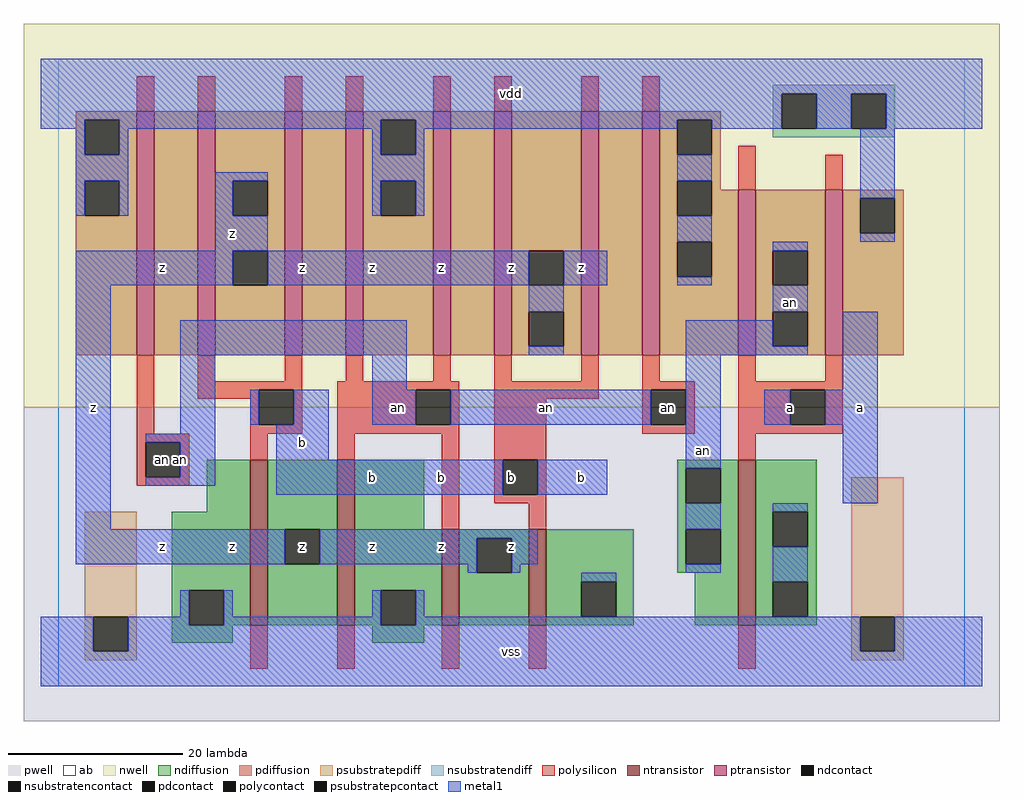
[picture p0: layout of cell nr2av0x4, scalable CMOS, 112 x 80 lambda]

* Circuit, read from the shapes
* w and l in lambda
.subckt nr2av0x4 a an b vdd vss z
M1 z b vss vss nfet w=19 l=2
M2 vss an z vss nfet w=19 l=2
M3 z an vss vss nfet w=11 l=2
M4 vss b z vss nfet w=11 l=2
M5 vss a an vss nfet w=19 l=2
M6 n1 an vdd vdd pfet w=28 l=2
M7 z b n1 vdd pfet w=28 l=2
M8 n2 b z vdd pfet w=28 l=2
M9 vdd an n2 vdd pfet w=28 l=2
M10 n3 an vdd vdd pfet w=28 l=2
M11 z b n3 vdd pfet w=28 l=2
M12 n4 b z vdd pfet w=28 l=2
M13 vdd an n4 vdd pfet w=28 l=2
M14 an a vdd vdd pfet w=19 l=2 m=2
.ends

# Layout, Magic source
magic
tech scmos
<< ab >>
rect 0 0 104 72
<< pwell >>
rect -4 -4 108 32
<< nwell >>
rect -4 32 108 76
<< polysilicon >>
rect 9 66 11 70
rect 16 66 18 70
rect 26 66 28 70
rect 33 66 35 70
rect 43 66 45 70
rect 50 66 52 70
rect 60 66 62 70
rect 67 66 69 70
rect 78 57 80 62
rect 88 57 90 61
rect 9 29 11 38
rect 16 35 18 38
rect 26 35 28 38
rect 33 35 35 38
rect 43 35 45 38
rect 50 35 52 38
rect 60 35 62 38
rect 16 34 28 35
rect 16 33 23 34
rect 22 30 23 33
rect 27 30 28 34
rect 22 29 28 30
rect 32 34 46 35
rect 32 30 41 34
rect 45 30 46 34
rect 32 29 46 30
rect 9 28 15 29
rect 9 24 10 28
rect 14 24 15 28
rect 22 26 24 29
rect 32 26 34 29
rect 9 23 15 24
rect 44 18 46 29
rect 50 33 62 35
rect 67 35 69 38
rect 78 35 80 38
rect 88 35 90 38
rect 67 34 73 35
rect 50 26 56 33
rect 67 30 68 34
rect 72 30 73 34
rect 67 29 73 30
rect 78 34 90 35
rect 78 30 84 34
rect 88 30 90 34
rect 78 29 90 30
rect 78 26 80 29
rect 50 22 51 26
rect 55 22 56 26
rect 50 21 56 22
rect 54 18 56 21
rect 22 2 24 7
rect 32 2 34 7
rect 44 2 46 7
rect 54 2 56 7
rect 78 2 80 7
<< ndiffusion >>
rect 17 20 22 26
rect 13 11 22 20
rect 13 7 15 11
rect 19 7 22 11
rect 24 18 32 26
rect 24 14 26 18
rect 30 14 32 18
rect 24 7 32 14
rect 34 18 42 26
rect 71 25 78 26
rect 71 21 72 25
rect 76 21 78 25
rect 71 18 78 21
rect 34 11 44 18
rect 34 7 37 11
rect 41 7 44 11
rect 46 17 54 18
rect 46 13 48 17
rect 52 13 54 17
rect 46 7 54 13
rect 56 12 66 18
rect 71 14 72 18
rect 76 14 78 18
rect 71 13 78 14
rect 56 8 60 12
rect 64 8 66 12
rect 56 7 66 8
rect 73 7 78 13
rect 80 20 87 26
rect 80 16 82 20
rect 86 16 87 20
rect 80 12 87 16
rect 80 8 82 12
rect 86 8 87 12
rect 80 7 87 8
rect 13 5 20 7
rect 36 5 42 7
<< pdiffusion >>
rect 2 65 9 66
rect 2 61 3 65
rect 7 61 9 65
rect 2 58 9 61
rect 2 54 3 58
rect 7 54 9 58
rect 2 38 9 54
rect 11 38 16 66
rect 18 58 26 66
rect 18 54 20 58
rect 24 54 26 58
rect 18 50 26 54
rect 18 46 20 50
rect 24 46 26 50
rect 18 38 26 46
rect 28 38 33 66
rect 35 65 43 66
rect 35 61 37 65
rect 41 61 43 65
rect 35 58 43 61
rect 35 54 37 58
rect 41 54 43 58
rect 35 38 43 54
rect 45 38 50 66
rect 52 50 60 66
rect 52 46 54 50
rect 58 46 60 50
rect 52 43 60 46
rect 52 39 54 43
rect 58 39 60 43
rect 52 38 60 39
rect 62 38 67 66
rect 69 65 76 66
rect 69 61 71 65
rect 75 61 76 65
rect 69 58 76 61
rect 69 54 71 58
rect 75 57 76 58
rect 75 54 78 57
rect 69 51 78 54
rect 69 47 71 51
rect 75 47 78 51
rect 69 38 78 47
rect 80 50 88 57
rect 80 46 82 50
rect 86 46 88 50
rect 80 43 88 46
rect 80 39 82 43
rect 86 39 88 43
rect 80 38 88 39
rect 90 56 97 57
rect 90 52 92 56
rect 96 52 97 56
rect 90 38 97 52
<< metal1 >>
rect -2 68 106 72
rect -2 65 83 68
rect -2 64 3 65
rect 2 61 3 64
rect 7 64 37 65
rect 7 61 8 64
rect 2 58 8 61
rect 36 61 37 64
rect 41 64 71 65
rect 41 61 42 64
rect 2 54 3 58
rect 7 54 8 58
rect 18 58 24 59
rect 18 54 20 58
rect 36 58 42 61
rect 36 54 37 58
rect 41 54 42 58
rect 75 64 83 65
rect 87 64 91 68
rect 95 64 106 68
rect 71 58 75 61
rect 18 50 24 54
rect 71 51 75 54
rect 92 56 96 64
rect 92 51 96 52
rect 2 46 20 50
rect 24 46 54 50
rect 58 46 63 50
rect 71 46 75 47
rect 82 50 86 51
rect 2 18 6 46
rect 54 43 58 46
rect 14 38 40 42
rect 82 43 86 46
rect 54 38 58 39
rect 72 39 82 42
rect 72 38 86 39
rect 14 29 18 38
rect 36 34 40 38
rect 22 30 23 34
rect 27 30 31 34
rect 36 30 41 34
rect 45 30 68 34
rect 10 28 18 29
rect 14 24 18 28
rect 10 23 18 24
rect 25 26 31 30
rect 25 22 51 26
rect 55 22 63 26
rect 72 25 76 38
rect 90 34 94 43
rect 81 30 84 34
rect 88 30 94 34
rect 90 21 94 30
rect 72 18 76 21
rect 2 14 26 18
rect 30 17 55 18
rect 30 14 48 17
rect 47 13 48 14
rect 52 14 55 17
rect 52 13 53 14
rect 72 13 76 14
rect 82 20 86 21
rect 60 12 64 13
rect 14 8 15 11
rect -2 4 4 8
rect 8 7 15 8
rect 19 8 20 11
rect 36 8 37 11
rect 19 7 37 8
rect 41 8 42 11
rect 82 12 86 16
rect 41 7 92 8
rect 8 4 92 7
rect 96 4 106 8
rect -2 0 106 4
<< ntransistor >>
rect 22 7 24 26
rect 32 7 34 26
rect 44 7 46 18
rect 54 7 56 18
rect 78 7 80 26
<< ptransistor >>
rect 9 38 11 66
rect 16 38 18 66
rect 26 38 28 66
rect 33 38 35 66
rect 43 38 45 66
rect 50 38 52 66
rect 60 38 62 66
rect 67 38 69 66
rect 78 38 80 57
rect 88 38 90 57
<< polycontact >>
rect 23 30 27 34
rect 41 30 45 34
rect 10 24 14 28
rect 68 30 72 34
rect 84 30 88 34
rect 51 22 55 26
<< ndcontact >>
rect 15 7 19 11
rect 26 14 30 18
rect 72 21 76 25
rect 37 7 41 11
rect 48 13 52 17
rect 72 14 76 18
rect 60 8 64 12
rect 82 16 86 20
rect 82 8 86 12
<< pdcontact >>
rect 3 61 7 65
rect 3 54 7 58
rect 20 54 24 58
rect 20 46 24 50
rect 37 61 41 65
rect 37 54 41 58
rect 54 46 58 50
rect 54 39 58 43
rect 71 61 75 65
rect 71 54 75 58
rect 71 47 75 51
rect 82 46 86 50
rect 82 39 86 43
rect 92 52 96 56
<< psubstratepcontact >>
rect 4 4 8 8
rect 92 4 96 8
<< nsubstratencontact >>
rect 83 64 87 68
rect 91 64 95 68
<< psubstratepdiff >>
rect 3 8 9 20
rect 3 4 4 8
rect 8 4 9 8
rect 91 8 97 24
rect 3 3 9 4
rect 91 4 92 8
rect 96 4 97 8
rect 91 3 97 4
<< nsubstratendiff >>
rect 82 68 96 69
rect 82 64 83 68
rect 87 64 91 68
rect 95 64 96 68
rect 82 63 96 64
<< labels >>
rlabel polycontact 12 26 12 26 6 an
rlabel polysilicon 39 32 39 32 6 an
rlabel polycontact 70 32 70 32 6 an
rlabel metal1 12 16 12 16 6 z
rlabel metal1 4 32 4 32 6 z
rlabel metal1 14 26 14 26 6 an
rlabel metal1 12 48 12 48 6 z
rlabel ndcontact 28 16 28 16 6 z
rlabel metal1 36 16 36 16 6 z
rlabel metal1 20 16 20 16 6 z
rlabel metal1 36 24 36 24 6 b
rlabel metal1 28 28 28 28 6 b
rlabel metal1 20 52 20 52 6 z
rlabel metal1 28 48 28 48 6 z
rlabel metal1 36 48 36 48 6 z
rlabel metal1 52 4 52 4 6 vss
rlabel metal1 52 16 52 16 6 z
rlabel metal1 44 16 44 16 6 z
rlabel metal1 44 24 44 24 6 b
rlabel polycontact 52 24 52 24 6 b
rlabel metal1 60 24 60 24 6 b
rlabel metal1 44 48 44 48 6 z
rlabel metal1 52 48 52 48 6 z
rlabel metal1 60 48 60 48 6 z
rlabel metal1 52 68 52 68 6 vdd
rlabel metal1 56 32 56 32 6 an
rlabel metal1 74 27 74 27 6 an
rlabel metal1 92 32 92 32 6 a
rlabel metal1 84 32 84 32 6 a
rlabel metal1 84 44 84 44 6 an
<< end >>
